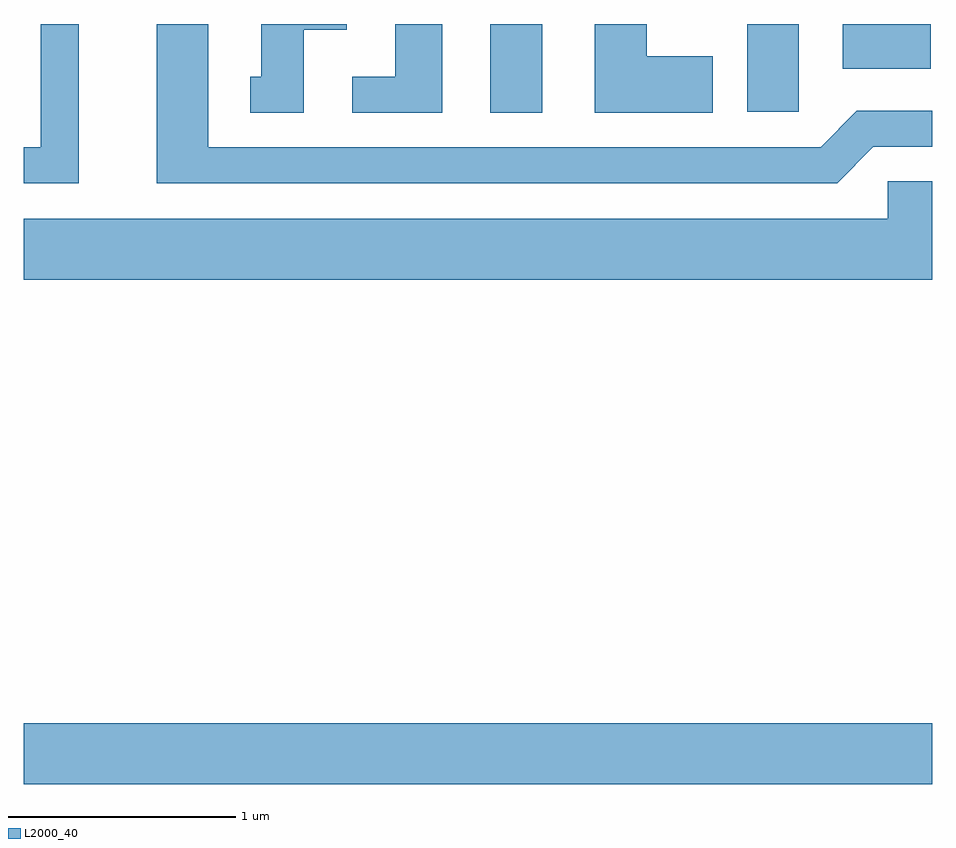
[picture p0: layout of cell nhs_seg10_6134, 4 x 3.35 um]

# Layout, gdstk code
import gdstk
lib = gdstk.Library(unit=1e-6, precision=1e-09)
def R(c, l, rs):  # rectangles x0, y0, x1, y1
    for r in rs: c.add(gdstk.rectangle(r[:2], r[2:], *l))
def P(c, l, *ps):  # polygons
    for p in ps: c.add(gdstk.Polygon(p, *l))
L2000_40 = (2000, 40)

nhs_seg10_6134 = lib.new_cell('nhs_seg10_6134')
R(nhs_seg10_6134, L2000_40, [(365.611,2187.176,369.611,2187.444), (367.666,2190.131,367.894,2190.522), (368.796,2190.136,369.024,2190.522), (369.216,2190.326,369.604,2190.522)])
P(nhs_seg10_6134, L2000_40, [(369.352,2189.981),(369.611,2189.981),(369.611,2190.139),(369.279,2190.139),(369.119,2189.979),(366.424,2189.979),(366.424,2190.522),(366.196,2190.522),(366.196,2189.821),(369.192,2189.821)],
  [(366.844,2190.496),(367.034,2190.496),(367.034,2190.522),(366.656,2190.522),(366.656,2190.289),(366.608,2190.289),(366.608,2190.131),(366.844,2190.131)],
  [(368.644,2190.379),(368.354,2190.379),(368.354,2190.522),(368.126,2190.522),(368.126,2190.131),(368.644,2190.131)],
  [(365.854,2190.522),(365.686,2190.522),(365.686,2189.979),(365.611,2189.979),(365.611,2189.821),(365.854,2189.821)],
  [(367.454,2190.522),(367.246,2190.522),(367.246,2190.289),(367.058,2190.289),(367.058,2190.131),(367.454,2190.131)],
  [(369.611,2189.829),(369.416,2189.829),(369.416,2189.664),(365.611,2189.664),(365.611,2189.396),(369.611,2189.396)])

lib.write_gds('nhs_seg10_6134.gds')
